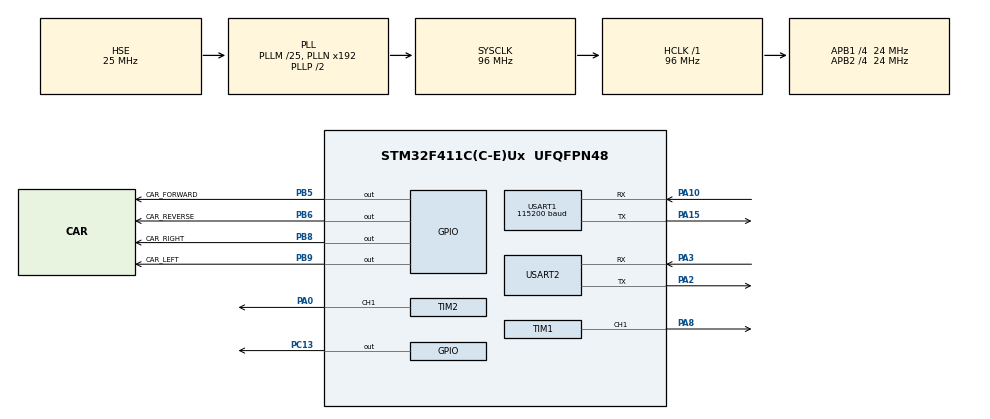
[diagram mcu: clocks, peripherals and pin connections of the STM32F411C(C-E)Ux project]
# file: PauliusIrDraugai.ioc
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Dma.Request0=USART1_RX
Dma.USART1_RX.0.Direction=DMA_PERIPH_TO_MEMORY
Dma.USART1_RX.0.FIFOMode=DMA_FIFOMODE_DISABLE
Dma.USART1_RX.0.Instance=DMA2_Stream2
Dma.USART1_RX.0.MemDataAlignment=DMA_MDATAALIGN_BYTE
Dma.USART1_RX.0.MemInc=DMA_MINC_ENABLE
Dma.USART1_RX.0.Mode=DMA_CIRCULAR
Dma.USART1_RX.0.PeriphDataAlignment=DMA_PDATAALIGN_BYTE
Dma.USART1_RX.0.PeriphInc=DMA_PINC_DISABLE
Dma.USART1_RX.0.Priority=DMA_PRIORITY_LOW
Mcu.Family=STM32F4
Mcu.Name=STM32F411C(C-E)Ux
Mcu.Package=UFQFPN48
NVIC.DMA2_Stream2_IRQn=true\:0\:0\:false\:false\:true\:false\:true\:true
NVIC.PriorityGroup=NVIC_PRIORITYGROUP_4
PA0-WKUP.Signal=S_TIM2_CH1_ETR
PA10.Mode=Asynchronous
PA10.Signal=USART1_RX
PA15.Mode=Asynchronous
PA15.Signal=USART1_TX
PA2.Mode=Asynchronous
PA2.Signal=USART2_TX
PA3.Mode=Asynchronous
PA3.Signal=USART2_RX
PA8.Signal=S_TIM1_CH1
PB5.GPIO_Label=CAR_FORWARD
PB5.Signal=GPIO_Output
PB6.GPIO_Label=CAR_REVERSE
PB6.Signal=GPIO_Output
PB8.GPIO_Label=CAR_RIGHT
PB8.Signal=GPIO_Output
PB9.GPIO_Label=CAR_LEFT
PB9.Signal=GPIO_Output
PC13-ANTI_TAMP.Signal=GPIO_Output
PH0\ -\ OSC_IN.Mode=HSE-External-Oscillator
PH0\ -\ OSC_IN.Signal=RCC_OSC_IN
PH1\ -\ OSC_OUT.Mode=HSE-External-Oscillator
PH1\ -\ OSC_OUT.Signal=RCC_OSC_OUT
ProjectManager.HeapSize=0x200
ProjectManager.StackSize=0x400
ProjectManager.TargetToolchain=STM32CubeIDE
RCC.48MHZClocksFreq_Value=48000000
RCC.AHBFreq_Value=96000000
RCC.APB1CLKDivider=RCC_HCLK_DIV4
RCC.APB1Freq_Value=24000000
RCC.APB1TimFreq_Value=48000000
RCC.APB2CLKDivider=RCC_HCLK_DIV4
RCC.APB2Freq_Value=24000000
RCC.APB2TimFreq_Value=48000000
RCC.CortexFreq_Value=96000000
RCC.HCLKFreq_Value=96000000
RCC.HSE_VALUE=25000000
RCC.HSI_VALUE=16000000
RCC.LSE_VALUE=32768
RCC.PLLM=25
RCC.PLLSourceVirtual=RCC_PLLSOURCE_HSE
RCC.SYSCLKFreq_VALUE=96000000
RCC.SYSCLKSource=RCC_SYSCLKSOURCE_PLLCLK
RCC.VCOOutputFreq_Value=192000000
SH.S_TIM1_CH1.0=TIM1_CH1,PWM Generation1 CH1
SH.S_TIM2_CH1_ETR.0=TIM2_CH1,PWM Generation1 CH1
TIM1.Channel-PWM\ Generation1\ CH1=TIM_CHANNEL_1
TIM1.OCPolarity_1=TIM_OCPOLARITY_LOW
TIM1.Period=100
TIM1.Prescaler=48000
TIM2.Channel-PWM\ Generation1\ CH1=TIM_CHANNEL_1
TIM2.OCPolarity_1=TIM_OCPOLARITY_LOW
TIM2.Period=100
TIM2.Prescaler=48000
USART1.BaudRate=115200
USART1.VirtualMode=VM_ASYNC
USART2.VirtualMode=VM_ASYNC
VP_TIM1_VS_ClockSourceINT.Mode=Internal
VP_TIM2_VS_ClockSourceINT.Mode=Internal
board=custom

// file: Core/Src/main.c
/* USER CODE BEGIN Header */
/**
  ******************************************************************************
  * @file           : main.c
  * @brief          : Main program body
  ******************************************************************************
  * @attention
  *
  * Copyright (c) 2024 STMicroelectronics.
  * All rights reserved.
  *
  * This software is licensed under terms that can be found in the LICENSE file
  * in the root directory of this software component.
  * If no LICENSE file comes with this software, it is provided AS-IS.
  *
  ******************************************************************************
  */
/* USER CODE END Header */
#include "main.h"

/* USER CODE BEGIN PD */
#define UART_BUFFER_RX_SIZE 128
/* USER CODE END PD */

TIM_HandleTypeDef htim1;
TIM_HandleTypeDef htim2;

UART_HandleTypeDef huart1;
UART_HandleTypeDef huart2;
DMA_HandleTypeDef hdma_usart1_rx;

/* USER CODE BEGIN PV */
uint8_t uart_rx[UART_BUFFER_RX_SIZE] = {0}; // DMA circular buffer
uint8_t uart_rx_head = 0;
uint8_t uart_rx_lastEnd = 0;
uint8_t timerFlag = 0;
int16_t counter = 0;

Dll dll;

void Process_UART2_DMA_RX(void);
/* USER CODE END PV */

void SystemClock_Config(void);
static void MX_GPIO_Init(void);
static void MX_DMA_Init(void);
static void MX_USART1_UART_Init(void);
static void MX_USART2_UART_Init(void);
static void MX_TIM1_Init(void);
static void MX_TIM2_Init(void);

int main(void)
{

  /* MCU Configuration--------------------------------------------------------*/

  /* Reset of all peripherals, Initializes the Flash interface and the Systick. */
  HAL_Init();

  /* Configure the system clock */
  SystemClock_Config();

  /* Initialize all configured peripherals */
  MX_GPIO_Init();
  MX_DMA_Init();
  MX_USART1_UART_Init();
  MX_USART2_UART_Init();
  MX_TIM1_Init();
  MX_TIM2_Init();
  /* USER CODE BEGIN 2 */
  HAL_UART_Receive_DMA(&huart1, uart_rx, UART_BUFFER_RX_SIZE);
  dllInit(DLL_VER_2);

  // TIM1 and TIM2 are used for RC car control (PWM signals for throttle)
  TIM1->ARR = 300 - 1;
  TIM1->CCR1 = 0;
  HAL_TIM_PWM_Start(&htim1, TIM_CHANNEL_1);

  TIM2->ARR = 300 - 1;
  TIM2->CCR1 = 0;
  HAL_TIM_PWM_Start(&htim2, TIM_CHANNEL_1);
  /* USER CODE END 2 */

  /* Infinite loop */
  /* USER CODE BEGIN WHILE */
  while (1)
  {
	  uart2_receive();
    /* USER CODE END WHILE */

  }
}

void SystemClock_Config(void)
{
  RCC_OscInitTypeDef RCC_OscInitStruct = {0};
  RCC_ClkInitTypeDef RCC_ClkInitStruct = {0};

  /** Configure the main internal regulator output voltage
  */
  __HAL_RCC_PWR_CLK_ENABLE();
  __HAL_PWR_VOLTAGESCALING_CONFIG(PWR_REGULATOR_VOLTAGE_SCALE1);

  /** Initializes the RCC Oscillators according to the specified parameters
  * in the RCC_OscInitTypeDef structure.
  */
  RCC_OscInitStruct.OscillatorType = RCC_OSCILLATORTYPE_HSE;
  RCC_OscInitStruct.HSEState = RCC_HSE_ON;
  RCC_OscInitStruct.PLL.PLLState = RCC_PLL_ON;
  RCC_OscInitStruct.PLL.PLLSource = RCC_PLLSOURCE_HSE;
  RCC_OscInitStruct.PLL.PLLM = 25;
  RCC_OscInitStruct.PLL.PLLN = 192;
  RCC_OscInitStruct.PLL.PLLP = RCC_PLLP_DIV2;
  RCC_OscInitStruct.PLL.PLLQ = 4;
  if (HAL_RCC_OscConfig(&RCC_OscInitStruct) != HAL_OK)
  {
    Error_Handler();
  }

  /** Initializes the CPU, AHB and APB buses clocks
  */
  RCC_ClkInitStruct.ClockType = RCC_CLOCKTYPE_HCLK|RCC_CLOCKTYPE_SYSCLK
                              |RCC_CLOCKTYPE_PCLK1|RCC_CLOCKTYPE_PCLK2;
  RCC_ClkInitStruct.SYSCLKSource = RCC_SYSCLKSOURCE_PLLCLK;
  RCC_ClkInitStruct.AHBCLKDivider = RCC_SYSCLK_DIV1;
  RCC_ClkInitStruct.APB1CLKDivider = RCC_HCLK_DIV4;
  RCC_ClkInitStruct.APB2CLKDivider = RCC_HCLK_DIV4;

  if (HAL_RCC_ClockConfig(&RCC_ClkInitStruct, FLASH_LATENCY_3) != HAL_OK)
  {
    Error_Handler();
  }
}

static void MX_TIM1_Init(void)
{

  TIM_ClockConfigTypeDef sClockSourceConfig = {0};
  TIM_MasterConfigTypeDef sMasterConfig = {0};
  TIM_OC_InitTypeDef sConfigOC = {0};
  TIM_BreakDeadTimeConfigTypeDef sBreakDeadTimeConfig = {0};

  htim1.Instance = TIM1;
  htim1.Init.Prescaler = 48000;
  htim1.Init.CounterMode = TIM_COUNTERMODE_UP;
  htim1.Init.Period = 100;
  htim1.Init.ClockDivision = TIM_CLOCKDIVISION_DIV1;
  htim1.Init.RepetitionCounter = 0;
  htim1.Init.AutoReloadPreload = TIM_AUTORELOAD_PRELOAD_DISABLE;
  if (HAL_TIM_Base_Init(&htim1) != HAL_OK)
  {
    Error_Handler();
  }
  sClockSourceConfig.ClockSource = TIM_CLOCKSOURCE_INTERNAL;
  if (HAL_TIM_ConfigClockSource(&htim1, &sClockSourceConfig) != HAL_OK)
  {
    Error_Handler();
  }
  if (HAL_TIM_PWM_Init(&htim1) != HAL_OK)
  {
    Error_Handler();
  }
  sMasterConfig.MasterOutputTrigger = TIM_TRGO_RESET;
  sMasterConfig.MasterSlaveMode = TIM_MASTERSLAVEMODE_DISABLE;
  if (HAL_TIMEx_MasterConfigSynchronization(&htim1, &sMasterConfig) != HAL_OK)
  {
    Error_Handler();
  }
  sConfigOC.OCMode = TIM_OCMODE_PWM1;
  sConfigOC.Pulse = 0;
  sConfigOC.OCPolarity = TIM_OCPOLARITY_LOW;
  sConfigOC.OCNPolarity = TIM_OCNPOLARITY_HIGH;
  sConfigOC.OCFastMode = TIM_OCFAST_DISABLE;
  sConfigOC.OCIdleState = TIM_OCIDLESTATE_RESET;
  sConfigOC.OCNIdleState = TIM_OCNIDLESTATE_RESET;
  if (HAL_TIM_PWM_ConfigChannel(&htim1, &sConfigOC, TIM_CHANNEL_1) != HAL_OK)
  {
    Error_Handler();
  }
  sBreakDeadTimeConfig.OffStateRunMode = TIM_OSSR_DISABLE;
  sBreakDeadTimeConfig.OffStateIDLEMode = TIM_OSSI_DISABLE;
  sBreakDeadTimeConfig.LockLevel = TIM_LOCKLEVEL_OFF;
  sBreakDeadTimeConfig.DeadTime = 0;
  sBreakDeadTimeConfig.BreakState = TIM_BREAK_DISABLE;
  sBreakDeadTimeConfig.BreakPolarity = TIM_BREAKPOLARITY_HIGH;
  sBreakDeadTimeConfig.AutomaticOutput = TIM_AUTOMATICOUTPUT_DISABLE;
  if (HAL_TIMEx_ConfigBreakDeadTime(&htim1, &sBreakDeadTimeConfig) != HAL_OK)
  {
    Error_Handler();
  }
  HAL_TIM_MspPostInit(&htim1);

}

static void MX_TIM2_Init(void)
{

  TIM_ClockConfigTypeDef sClockSourceConfig = {0};
  TIM_MasterConfigTypeDef sMasterConfig = {0};
  TIM_OC_InitTypeDef sConfigOC = {0};

  htim2.Instance = TIM2;
  htim2.Init.Prescaler = 48000;
  htim2.Init.CounterMode = TIM_COUNTERMODE_UP;
  htim2.Init.Period = 100;
  htim2.Init.ClockDivision = TIM_CLOCKDIVISION_DIV1;
  htim2.Init.AutoReloadPreload = TIM_AUTORELOAD_PRELOAD_DISABLE;
  if (HAL_TIM_Base_Init(&htim2) != HAL_OK)
  {
    Error_Handler();
  }
  sClockSourceConfig.ClockSource = TIM_CLOCKSOURCE_INTERNAL;
  if (HAL_TIM_ConfigClockSource(&htim2, &sClockSourceConfig) != HAL_OK)
  {
    Error_Handler();
  }
  if (HAL_TIM_PWM_Init(&htim2) != HAL_OK)
  {
    Error_Handler();
  }
  sMasterConfig.MasterOutputTrigger = TIM_TRGO_RESET;
  sMasterConfig.MasterSlaveMode = TIM_MASTERSLAVEMODE_DISABLE;
  if (HAL_TIMEx_MasterConfigSynchronization(&htim2, &sMasterConfig) != HAL_OK)
  {
    Error_Handler();
  }
  sConfigOC.OCMode = TIM_OCMODE_PWM1;
  sConfigOC.Pulse = 0;
  sConfigOC.OCPolarity = TIM_OCPOLARITY_LOW;
  sConfigOC.OCFastMode = TIM_OCFAST_DISABLE;
  if (HAL_TIM_PWM_ConfigChannel(&htim2, &sConfigOC, TIM_CHANNEL_1) != HAL_OK)
  {
    Error_Handler();
  }
  HAL_TIM_MspPostInit(&htim2);

}

static void MX_USART1_UART_Init(void)
{

  huart1.Instance = USART1;
  huart1.Init.BaudRate = 115200;
  huart1.Init.WordLength = UART_WORDLENGTH_8B;
  huart1.Init.StopBits = UART_STOPBITS_1;
  huart1.Init.Parity = UART_PARITY_NONE;
  huart1.Init.Mode = UART_MODE_TX_RX;
  huart1.Init.HwFlowCtl = UART_HWCONTROL_NONE;
  huart1.Init.OverSampling = UART_OVERSAMPLING_16;
  if (HAL_UART_Init(&huart1) != HAL_OK)
  {
    Error_Handler();
  }
  /* USER CODE BEGIN USART1_Init 2 */
  HAL_UART_Receive_DMA(&huart1, uart_rx, UART_BUFFER_RX_SIZE);
  /* USER CODE END USART1_Init 2 */

}

static void MX_USART2_UART_Init(void)
{

  huart2.Instance = USART2;
  huart2.Init.BaudRate = 115200;
  huart2.Init.WordLength = UART_WORDLENGTH_8B;
  huart2.Init.StopBits = UART_STOPBITS_1;
  huart2.Init.Parity = UART_PARITY_NONE;
  huart2.Init.Mode = UART_MODE_TX_RX;
  huart2.Init.HwFlowCtl = UART_HWCONTROL_NONE;
  huart2.Init.OverSampling = UART_OVERSAMPLING_16;
  if (HAL_UART_Init(&huart2) != HAL_OK)
  {
    Error_Handler();
  }

}

static void MX_DMA_Init(void)
{

  /* DMA controller clock enable */
  __HAL_RCC_DMA2_CLK_ENABLE();

  /* DMA interrupt init */
  /* DMA2_Stream2_IRQn interrupt configuration */
  HAL_NVIC_SetPriority(DMA2_Stream2_IRQn, 0, 0);
  HAL_NVIC_EnableIRQ(DMA2_Stream2_IRQn);

}

static void MX_GPIO_Init(void)
{
  GPIO_InitTypeDef GPIO_InitStruct = {0};

  /* GPIO Ports Clock Enable */
  __HAL_RCC_GPIOC_CLK_ENABLE();
  __HAL_RCC_GPIOH_CLK_ENABLE();
  __HAL_RCC_GPIOA_CLK_ENABLE();
  __HAL_RCC_GPIOB_CLK_ENABLE();

  /*Configure GPIO pin Output Level */
  HAL_GPIO_WritePin(GPIOC, GPIO_PIN_13, GPIO_PIN_RESET);

  /*Configure GPIO pin Output Level */
  HAL_GPIO_WritePin(GPIOB, CAR_FORWARD_Pin|CAR_REVERSE_Pin|CAR_RIGHT_Pin|CAR_LEFT_Pin, GPIO_PIN_RESET);

  /*Configure GPIO pin : PC13 */
  GPIO_InitStruct.Pin = GPIO_PIN_13;
  GPIO_InitStruct.Mode = GPIO_MODE_OUTPUT_PP;
  GPIO_InitStruct.Pull = GPIO_NOPULL;
  GPIO_InitStruct.Speed = GPIO_SPEED_FREQ_LOW;
  HAL_GPIO_Init(GPIOC, &GPIO_InitStruct);

  /*Configure GPIO pins : CAR_FORWARD_Pin CAR_REVERSE_Pin CAR_RIGHT_Pin CAR_LEFT_Pin */
  GPIO_InitStruct.Pin = CAR_FORWARD_Pin|CAR_REVERSE_Pin|CAR_RIGHT_Pin|CAR_LEFT_Pin;
  GPIO_InitStruct.Mode = GPIO_MODE_OUTPUT_PP;
  GPIO_InitStruct.Pull = GPIO_NOPULL;
  GPIO_InitStruct.Speed = GPIO_SPEED_FREQ_LOW;
  HAL_GPIO_Init(GPIOB, &GPIO_InitStruct);

}

/* USER CODE BEGIN 4 */

void Process_UART2_DMA_RX(void)
{
    uint16_t curEnd = UART_BUFFER_RX_SIZE -__HAL_DMA_GET_COUNTER(&hdma_usart1_rx);

    if(curEnd != uart_rx_lastEnd){
    	if(uart_rx_lastEnd > curEnd){
    		HAL_UART_Transmit(&huart2, &uart_rx[uart_rx_lastEnd], UART_BUFFER_RX_SIZE-uart_rx_lastEnd, HAL_MAX_DELAY);
    		uart_rx_lastEnd = 0;
    	}
    	HAL_UART_Transmit(&huart2, &uart_rx[uart_rx_lastEnd], curEnd-uart_rx_lastEnd, 100);
    	uart_rx_lastEnd = curEnd;
    }
	char buffer[50];
	sprintf(buffer, "%d - %d \n", __HAL_DMA_GET_COUNTER(&hdma_usart1_rx), curEnd);
	HAL_UART_Transmit(&huart2, "\n", 1, 100);
}

/*
 * Handles data receiving via USART1 with DMA
 * Sends control signals to RC car controller (GPIO pins)
 * Transmits unpacked data to external UART2 (for debugging, testing) for this
 * 			on STM case we have left a hole to connect external TTL-USB cable
 * */
void uart2_receive(void)//Called in while(1)
{
    // Process incoming data frame
    uint8_t rxHead = (UART_BUFFER_RX_SIZE - __HAL_DMA_GET_COUNTER(&hdma_usart1_rx));
    uint8_t bufferExternalUART[50];
    if(rxHead == 128) return;
    while (uart_rx_lastEnd != rxHead) {
        dllRcv(uart_rx[uart_rx_lastEnd], &dll);
        uart_rx_lastEnd = (uart_rx_lastEnd + 1) % UART_BUFFER_RX_SIZE;
        if (dll.dataCount) {//Valid frame is detected
        	// sends received data as char's to external USART2
        	for(int i = 0; i<dll.dataCount; i++){
        		int len = sprintf(bufferSiunciam, "%d ", dll.dataBuffer[i]);
        		HAL_UART_Transmit(&huart2, bufferSiunciam, len, 100);
        	}

        	// Combining two 8-bit components into a single 16-bit value
        	int16_t pitch = (dll.dataBuffer[1]<<8)+dll.dataBuffer[2];
        	int16_t roll = (dll.dataBuffer[3]<<8)+dll.dataBuffer[4];
        	int16_t yaw = (dll.dataBuffer[5]<<8)+dll.dataBuffer[6];
        	int16_t throtle = (dll.dataBuffer[7]<<8)+dll.dataBuffer[8];

        	// RC car turning left
        	if(roll < 600){
        		HAL_GPIO_WritePin(CAR_LEFT_GPIO_Port, CAR_LEFT_Pin, GPIO_PIN_RESET);
        		HAL_GPIO_WritePin(CAR_RIGHT_GPIO_Port, CAR_RIGHT_Pin, GPIO_PIN_SET);
        	}
        	// RC car turning right
        	else if(roll > 800){
        		HAL_GPIO_WritePin(CAR_LEFT_GPIO_Port, CAR_LEFT_Pin, GPIO_PIN_SET);
        		HAL_GPIO_WritePin(CAR_RIGHT_GPIO_Port, CAR_RIGHT_Pin, GPIO_PIN_RESET);
        	}
        	// RC car wheels aligned straight
        	else{
        		HAL_GPIO_WritePin(CAR_LEFT_GPIO_Port, CAR_LEFT_Pin, GPIO_PIN_SET);
        		HAL_GPIO_WritePin(CAR_RIGHT_GPIO_Port, CAR_RIGHT_Pin, GPIO_PIN_SET);
        	}

        	// RC car drives forward
        	if(throtle < 600){
        		HAL_TIM_PWM_Start(&htim2, TIM_CHANNEL_1);
        		HAL_TIM_PWM_Stop(&htim1, TIM_CHANNEL_1);

        		TIM2->CCR1 = (uint32_t)(((float)TIM2->ARR/700.0)*(700-throtle));
        	}
        	// RC car drives backwards
        	else if(throtle >= 800){
        		HAL_TIM_PWM_Start(&htim1, TIM_CHANNEL_1);
        		HAL_TIM_PWM_Stop(&htim2, TIM_CHANNEL_1);

        		TIM1->CCR1 = (uint32_t)(((float)TIM1->ARR/700.0)*(throtle-700));
        	}
        	// RC car stops
        	else{
        		HAL_TIM_PWM_Stop(&htim1, TIM_CHANNEL_1);
        		HAL_TIM_PWM_Stop(&htim2, TIM_CHANNEL_1);
        	}
        }
    }
}

void HAL_TIM_PeriodElapsedCallback(TIM_HandleTypeDef* htim)
{
    timerFlag = 1;
}

/* USER CODE END 4 */

void Error_Handler(void)
{
  __disable_irq();
  while (1)
  {
  }
}
